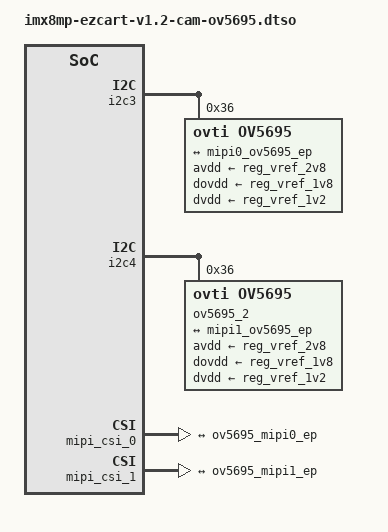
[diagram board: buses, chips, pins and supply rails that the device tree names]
// SPDX-License-Identifier: (GPL-2.0+ OR MIT)
/*
 * Camera overlay for Cartzy EzCart v1.2 - OV5695 dual-camera configuration.
 *
 * Two OV5695 sensors connected via FPD-Link III (DS90UB635 serializer
 * on the camera module, DS90UB638 deserializer on the carrier board).
 * Camera 1: i2c3 bus -> MIPI CSI-2 port 0
 * Camera 2: i2c4 bus -> MIPI CSI-2 port 1
 *
 * @author Nikita Bulaev agency@grovety.com
 */

/dts-v1/;
/plugin/;

#include "imx8mp-pinfunc.h"
#include <dt-bindings/gpio/gpio.h>

/* Camera reset GPIOs — flat pinctrl groups (must not be nested to avoid
 * triggering non-flat mode in imx_pinctrl_dt_is_flat_functions()).
 * Open-drain drive is encoded in the pad config value (0x030).
 */
&iomuxc {
	pinctrl_i2c3_ov5695_mipi: i2c3-ov5695-mipigrp {
		fsl,pins = <
#define GP_CAMERA1_RESET	<&gpio1 7 (GPIO_ACTIVE_HIGH | GPIO_OPEN_DRAIN)>
		MX8MP_IOMUXC_GPIO1_IO07__GPIO1_IO07	0x030
		>;
	};

	/* Camera 2 reset GPIO — open-drain output on GPIO1_IO14 */
	pinctrl_i2c4_ov5695_mipi: i2c4-ov5695-mipigrp {
		fsl,pins = <
#define GP_CAMERA2_RESET	<&gpio1 14 (GPIO_ACTIVE_HIGH | GPIO_OPEN_DRAIN)>
		MX8MP_IOMUXC_GPIO1_IO14__GPIO1_IO14	0x030
		>;
	};
};

/* OV5695 sensor — camera 1 (via DS90UB638/635 FPD-Link on i2c3) */
&i2c3 {
	#address-cells = <1>;
	#size-cells = <0>;

	ov5695: ov5695_mipi0@36 {
		avdd-supply = <&reg_vref_2v8>;
		dovdd-supply = <&reg_vref_1v8>;
		dvdd-supply = <&reg_vref_1v2>;
		clocks = <&csi_mclk>;
		clock-names = "xvclk";
		compatible = "ovti,ov5695", "ov5695";
		pinctrl-names = "default";
		pinctrl-0 = <&pinctrl_i2c3_ov5695_mipi>;
		reg = <0x36>;
		csi_id = <0>;
		reset-gpios = GP_CAMERA1_RESET;
		status = "okay";

		port {
			ov5695_mipi0_ep: endpoint {
				clock-lanes = <0>;
				data-lanes = <1 2>;
				remote-endpoint = <&mipi0_ov5695_ep>;
				link-frequencies = /bits/ 64 <800000000>;

				max-lane-frequency = /bits/ 64 <800000000>;
				max-pixel-frequency = /bits/ 64 <266000000>;
			};
		};
	};
};

/* OV5695 sensor — camera 2 (via DS90UB638/635 FPD-Link on i2c4) */
&i2c4 {
	#address-cells = <1>;
	#size-cells = <0>;

	ov5695_2: ov5695_mipi1@36 {
		avdd-supply = <&reg_vref_2v8>;
		dovdd-supply = <&reg_vref_1v8>;
		dvdd-supply = <&reg_vref_1v2>;
		clocks = <&csi_mclk>;
		clock-names = "xvclk";
		compatible = "ovti,ov5695", "ov5695";
		pinctrl-names = "default";
		pinctrl-0 = <&pinctrl_i2c4_ov5695_mipi>;
		reg = <0x36>;
		csi_id = <1>;
		reset-gpios = GP_CAMERA2_RESET;
		status = "okay";

		port {
			ov5695_mipi1_ep: endpoint {
				clock-lanes = <0>;
				data-lanes = <1 2>;
				remote-endpoint = <&mipi1_ov5695_ep>;
				link-frequencies = /bits/ 64 <800000000>;

				max-lane-frequency = /bits/ 64 <800000000>;
				max-pixel-frequency = /bits/ 64 <266000000>;
			};
		};
	};
};

/* MIPI CSI-2 receiver 0 — endpoint pointing to OV5695 cam 1 */
&mipi_csi_0 {
	#address-cells = <1>;
	#size-cells = <0>;

	port@0 {
		reg = <0>;

		mipi0_ov5695_ep: endpoint {
			remote-endpoint = <&ov5695_mipi0_ep>;
			data-lanes = <2>;
			csis-hs-settle = <13>;
			csis-clk-settle = <2>;
			csis-wclk;
		};
	};
};

/* MIPI CSI-2 receiver 1 — endpoint pointing to OV5695 cam 2 */
&mipi_csi_1 {
	#address-cells = <1>;
	#size-cells = <0>;

	port@1 {
		reg = <1>;

		mipi1_ov5695_ep: endpoint {
			remote-endpoint = <&ov5695_mipi1_ep>;
			data-lanes = <2>;
			csis-hs-settle = <13>;
			csis-clk-settle = <2>;
			csis-wclk;
		};
	};
};
